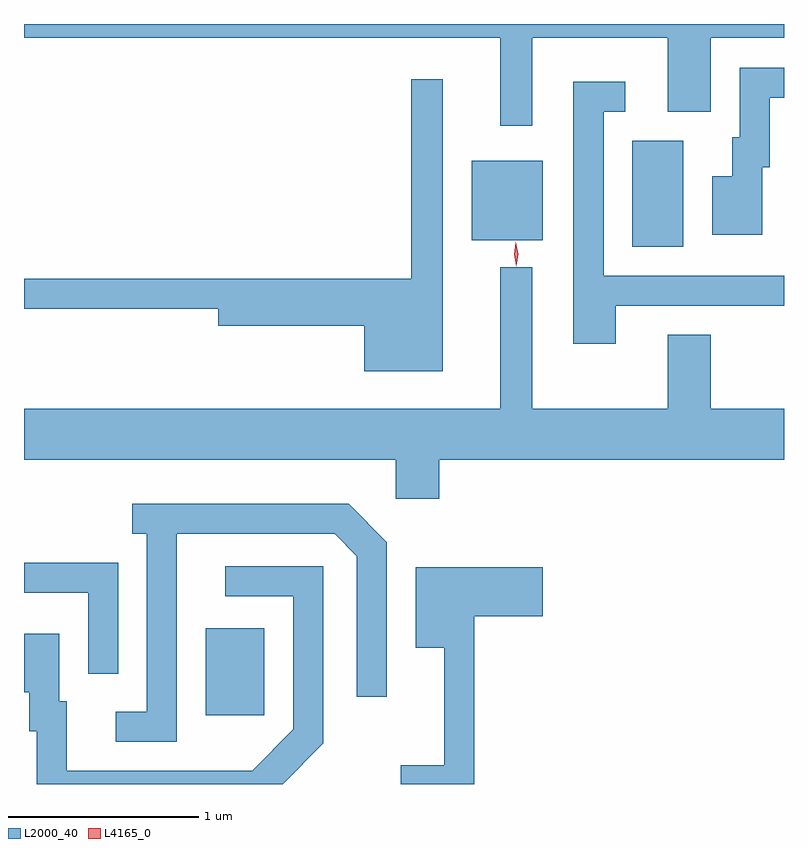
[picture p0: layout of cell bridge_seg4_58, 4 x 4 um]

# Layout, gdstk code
import gdstk
lib = gdstk.Library(unit=1e-6, precision=1e-09)
def R(c, l, rs):  # rectangles x0, y0, x1, y1
    for r in rs: c.add(gdstk.rectangle(r[:2], r[2:], *l))
def P(c, l, *ps):  # polygons
    for p in ps: c.add(gdstk.Polygon(p, *l))
L2000_40 = (2000, 40)
L4165_0 = (4165, 0)

bridge_seg4_58 = lib.new_cell('bridge_seg4_58')
R(bridge_seg4_58, L2000_40, [(1324.461,1357.771,1324.769,1358.229), (1326.706,1360.236,1326.974,1360.794), (1325.861,1360.271,1326.234,1360.689)])
P(bridge_seg4_58, L2000_40, [(1326.179,1361.336),(1326.891,1361.336),(1326.891,1360.946),(1327.119,1360.946),(1327.119,1361.336),(1327.504,1361.336),(1327.504,1361.409),(1323.504,1361.409),(1323.504,1361.336),(1326.011,1361.336),(1326.011,1360.873),(1326.179,1360.873)],
  [(1327.389,1360.656),(1327.429,1360.656),(1327.429,1361.021),(1327.504,1361.021),(1327.504,1361.179),(1327.271,1361.179),(1327.271,1360.814),(1327.231,1360.814),(1327.231,1360.609),(1327.126,1360.609),(1327.126,1360.301),(1327.389,1360.301)],
  [(1325.709,1361.118),(1325.541,1361.118),(1325.541,1360.069),(1323.504,1360.069),(1323.504,1359.911),(1324.526,1359.911),(1324.526,1359.821),(1325.296,1359.821),(1325.296,1359.581),(1325.709,1359.581)],
  [(1326.619,1359.926),(1327.504,1359.926),(1327.504,1360.084),(1326.554,1360.084),(1326.554,1360.946),(1326.668,1360.946),(1326.668,1361.104),(1326.396,1361.104),(1326.396,1359.726),(1326.619,1359.726)],
  [(1325.689,1359.116),(1327.504,1359.116),(1327.504,1359.384),(1327.119,1359.384),(1327.119,1359.774),(1326.891,1359.774),(1326.891,1359.384),(1326.179,1359.384),(1326.179,1360.128),(1326.011,1360.128),(1326.011,1359.384),(1323.504,1359.384),(1323.504,1359.116),(1325.461,1359.116),(1325.461,1358.911),(1325.689,1358.911)],
  [(1324.309,1358.726),(1325.139,1358.726),(1325.256,1358.609),(1325.256,1357.868),(1325.414,1357.868),(1325.414,1358.682),(1325.212,1358.884),(1324.073,1358.884),(1324.073,1358.726),(1324.151,1358.726),(1324.151,1357.789),(1323.988,1357.789),(1323.988,1357.631),(1324.309,1357.631)],
  [(1323.999,1358.574),(1323.504,1358.574),(1323.504,1358.416),(1323.841,1358.416),(1323.841,1357.988),(1323.999,1357.988)],
  [(1325.079,1357.624),(1325.079,1358.554),(1324.563,1358.554),(1324.563,1358.396),(1324.921,1358.396),(1324.921,1357.697),(1324.704,1357.479),(1323.729,1357.479),(1323.729,1357.844),(1323.689,1357.844),(1323.689,1358.199),(1323.504,1358.199),(1323.504,1357.891),(1323.531,1357.891),(1323.531,1357.686),(1323.571,1357.686),(1323.571,1357.409),(1324.865,1357.409)],
  [(1325.874,1358.291),(1326.234,1358.291),(1326.234,1358.549),(1325.566,1358.549),(1325.566,1358.126),(1325.716,1358.126),(1325.716,1357.509),(1325.488,1357.509),(1325.488,1357.409),(1325.874,1357.409)])
P(bridge_seg4_58, L4165_0, [(1326.094,1360.133),(1326.084,1360.197),(1326.092,1360.261),(1326.093,1360.262),(1326.093,1360.261),(1326.104,1360.197),(1326.096,1360.133),(1326.095,1360.133)])

lib.write_gds('bridge_seg4_58.gds')
